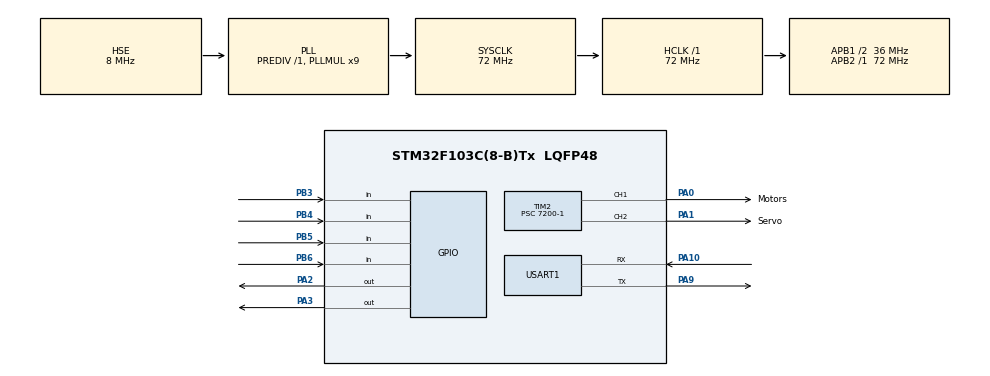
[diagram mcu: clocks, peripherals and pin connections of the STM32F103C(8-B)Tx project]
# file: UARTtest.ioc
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Mcu.Family=STM32F1
Mcu.Name=STM32F103C(8-B)Tx
Mcu.Package=LQFP48
NVIC.PriorityGroup=NVIC_PRIORITYGROUP_4
NVIC.TIM2_IRQn=true\:0\:0\:false\:false\:true\:true\:true
NVIC.TIM3_IRQn=true\:0\:0\:false\:false\:true\:false\:true
NVIC.TimeBase=TIM3_IRQn
NVIC.TimeBaseIP=TIM3
NVIC.USART1_IRQn=true\:0\:0\:false\:false\:true\:true\:true
PA0-WKUP.GPIO_Label=Motors
PA0-WKUP.Signal=S_TIM2_CH1_ETR
PA1.GPIO_Label=Servo
PA1.Signal=S_TIM2_CH2
PA10.Mode=Asynchronous
PA10.Signal=USART1_RX
PA13.Mode=Serial_Wire
PA13.Signal=SYS_JTMS-SWDIO
PA14.Mode=Serial_Wire
PA14.Signal=SYS_JTCK-SWCLK
PA2.GPIO_Speed=GPIO_SPEED_FREQ_HIGH
PA2.Signal=GPIO_Output
PA3.GPIO_Speed=GPIO_SPEED_FREQ_HIGH
PA3.PinState=GPIO_PIN_SET
PA3.Signal=GPIO_Output
PA9.Mode=Asynchronous
PA9.Signal=USART1_TX
PB3.GPIO_Mode=GPIO_MODE_INPUT
PB3.GPIO_PuPd=GPIO_PULLUP
PB3.Signal=GPIO_Input
PB4.GPIO_PuPd=GPIO_PULLUP
PB4.Signal=GPIO_Input
PB5.GPIO_PuPd=GPIO_PULLUP
PB5.Signal=GPIO_Input
PB6.GPIO_PuPd=GPIO_PULLUP
PB6.Signal=GPIO_Input
PD0-OSC_IN.Mode=HSE-External-Oscillator
PD0-OSC_IN.Signal=RCC_OSC_IN
PD1-OSC_OUT.Mode=HSE-External-Oscillator
PD1-OSC_OUT.Signal=RCC_OSC_OUT
ProjectManager.HeapSize=0x200
ProjectManager.StackSize=0x400
ProjectManager.TargetToolchain=MDK-ARM V5.27
RCC.AHBFreq_Value=72000000
RCC.APB1CLKDivider=RCC_HCLK_DIV2
RCC.APB1Freq_Value=36000000
RCC.APB1TimFreq_Value=72000000
RCC.APB2Freq_Value=72000000
RCC.APB2TimFreq_Value=72000000
RCC.HCLKFreq_Value=72000000
RCC.PLLMUL=RCC_PLL_MUL9
RCC.PLLSourceVirtual=RCC_PLLSOURCE_HSE
RCC.SYSCLKFreq_VALUE=72000000
RCC.SYSCLKSource=RCC_SYSCLKSOURCE_PLLCLK
RCC.USBFreq_Value=72000000
SH.S_TIM2_CH1_ETR.0=TIM2_CH1,PWM Generation1 CH1
SH.S_TIM2_CH2.0=TIM2_CH2,PWM Generation2 CH2
TIM2.Channel-PWM\ Generation1\ CH1=TIM_CHANNEL_1
TIM2.Channel-PWM\ Generation2\ CH2=TIM_CHANNEL_2
TIM2.Period=200-1
TIM2.Prescaler=7200-1
USART1.VirtualMode=VM_ASYNC
VP_SYS_VS_tim3.Mode=TIM3
VP_TIM2_VS_ClockSourceINT.Mode=Internal
board=custom

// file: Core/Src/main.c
/* USER CODE BEGIN Header */
/**
  ******************************************************************************
  * @file           : main.c
  * @brief          : Main program body
  ******************************************************************************
  * @attention
  *
  * <h2><center>&copy; Copyright (c) 2021 STMicroelectronics.
  * All rights reserved.</center></h2>
  *
  * This software component is licensed by ST under BSD 3-Clause license,
  * the "License"; You may not use this file except in compliance with the
  * License. You may obtain a copy of the License at:
  *                        opensource.org/licenses/BSD-3-Clause
  *
  ******************************************************************************
  */
/* USER CODE END Header */
#include "main.h"
#include "tim.h"
#include "usart.h"
#include "gpio.h"

/* USER CODE BEGIN Includes */
#include <stdio.h>

/* USER CODE END Includes */

void SystemClock_Config(void);
/* USER CODE BEGIN PFP */

extern UART_HandleTypeDef huart1;   //声明串口

/**
  * 函数功能: 重定向c库函数printf到DEBUG_USARTx
  * 输入参数: 无
  * 返 回 值: 无
  * 说    明：无
  */
int fputc(int ch, FILE *f)
{
  HAL_UART_Transmit(&huart1, (uint8_t *)&ch, 1, 0xffff);
  return ch;
}

/**
  * 函数功能: 重定向c库函数getchar,scanf到DEBUG_USARTx
  * 输入参数: 无
  * 返 回 值: 无
  * 说    明：无
  */
int fgetc(FILE *f)
{
  uint8_t ch = 0;
  HAL_UART_Receive(&huart1, &ch, 1, 0xffff);
  return ch;
}

  /**
    * 函数功能: 控制小车左侧两电机
    * 输入参数: Direction 输入1————前进  输入0————后退
    * 返 回 值: 无
    * 说    明：无
    */
void LeftControl(int Direction)
{
	if(Direction==0)
	{
		HAL_GPIO_WritePin(GPIOA,GPIO_PIN_2,0);
		HAL_GPIO_WritePin(GPIOA,GPIO_PIN_3,1);
	}
	else
	{
		HAL_GPIO_WritePin(GPIOA,GPIO_PIN_2,1);
		HAL_GPIO_WritePin(GPIOA,GPIO_PIN_3,0);
	}

}
/* USER CODE END PFP */

int main(void)
{
  /* USER CODE BEGIN 1 */
	uint16_t Case=1;
	uint16_t angle=1;//角度控制
	uint16_t p3=0;
	uint16_t p2=0;
	uint16_t b3=0;
	uint16_t b4=0;
	uint16_t b5=0;
	uint16_t b6=0;
  /* USER CODE END 1 */

  /* MCU Configuration--------------------------------------------------------*/

  /* Reset of all peripherals, Initializes the Flash interface and the Systick. */
  HAL_Init();

  /* Configure the system clock */
  SystemClock_Config();

  /* Initialize all configured peripherals */
  MX_GPIO_Init();
  MX_USART1_UART_Init();
  MX_TIM2_Init();

  /* Infinite loop */
  /* USER CODE BEGIN WHILE */
  while (1)
  {
	  Case++;
	  switch (Case)
      {
      	case 1://0
			angle = 5;
      		break;
      	case 2://45
			angle = 10;
      		break;
		case 3://90
			angle = 15;
      		break;
		case 4://135
			angle = 20;
      		break;
		case 5://180
			angle = 25;
			break;
      	default:

			printf("    角度配置失败");
      		break;
      }
	  HAL_TIM_PWM_Start(&htim2,TIM_CHANNEL_2);
	  HAL_TIM_PWM_Start(&htim2,TIM_CHANNEL_1);
	  __HAL_TIM_SET_COMPARE(&htim2,TIM_CHANNEL_2,angle);
	  __HAL_TIM_SET_COMPARE(&htim2,TIM_CHANNEL_1,200-angle);

	  HAL_GPIO_TogglePin(GPIOA,GPIO_PIN_2);
	  HAL_GPIO_TogglePin(GPIOA,GPIO_PIN_3);
	  if(Case==5)
	  {
		  HAL_GPIO_WritePin(GPIOA,GPIO_PIN_2,0);
		  HAL_GPIO_WritePin(GPIOA,GPIO_PIN_3,0);
	  }

	  p3=HAL_GPIO_ReadPin(GPIOA,GPIO_PIN_3);
	  p2=HAL_GPIO_ReadPin(GPIOA,GPIO_PIN_2);
	  if(p2==1)
		  printf("|| 电机正转 p2=%d,p3=%d ||",p2,p3);
	  else if(p2==p3)
		  printf("|| 电机制动 p2=%d,p3=%d ||",p2,p3);
	  else
		  printf("|| 电机反转 p2=%d,p3=%d ||",p2,p3);

	  HAL_Delay(5000);
	  if(Case==5)
		  HAL_GPIO_WritePin(GPIOA,GPIO_PIN_2,1);
	  printf("______舵机角度为：%d  \n",((angle/5)-1)*45);

	  if (Case==5)
		  Case=0;

	b3=HAL_GPIO_ReadPin(GPIOB,GPIO_PIN_3);
	b4=HAL_GPIO_ReadPin(GPIOB,GPIO_PIN_4);
	b5=HAL_GPIO_ReadPin(GPIOB,GPIO_PIN_5);
	b6=HAL_GPIO_ReadPin(GPIOB,GPIO_PIN_6);

	printf("  b3=%d,b4=%d,b5=%d,b6=%d",b3,b4,b5,b6);// 0 代表接受到红外线 即前方有障碍物
    HAL_Delay(1000);

    /* USER CODE END WHILE */

  }
}

void SystemClock_Config(void)
{
  RCC_OscInitTypeDef RCC_OscInitStruct = {0};
  RCC_ClkInitTypeDef RCC_ClkInitStruct = {0};

  /** Initializes the RCC Oscillators according to the specified parameters
  * in the RCC_OscInitTypeDef structure.
  */
  RCC_OscInitStruct.OscillatorType = RCC_OSCILLATORTYPE_HSE;
  RCC_OscInitStruct.HSEState = RCC_HSE_ON;
  RCC_OscInitStruct.HSEPredivValue = RCC_HSE_PREDIV_DIV1;
  RCC_OscInitStruct.HSIState = RCC_HSI_ON;
  RCC_OscInitStruct.PLL.PLLState = RCC_PLL_ON;
  RCC_OscInitStruct.PLL.PLLSource = RCC_PLLSOURCE_HSE;
  RCC_OscInitStruct.PLL.PLLMUL = RCC_PLL_MUL9;
  if (HAL_RCC_OscConfig(&RCC_OscInitStruct) != HAL_OK)
  {
    Error_Handler();
  }
  /** Initializes the CPU, AHB and APB buses clocks
  */
  RCC_ClkInitStruct.ClockType = RCC_CLOCKTYPE_HCLK|RCC_CLOCKTYPE_SYSCLK
                              |RCC_CLOCKTYPE_PCLK1|RCC_CLOCKTYPE_PCLK2;
  RCC_ClkInitStruct.SYSCLKSource = RCC_SYSCLKSOURCE_PLLCLK;
  RCC_ClkInitStruct.AHBCLKDivider = RCC_SYSCLK_DIV1;
  RCC_ClkInitStruct.APB1CLKDivider = RCC_HCLK_DIV2;
  RCC_ClkInitStruct.APB2CLKDivider = RCC_HCLK_DIV1;

  if (HAL_RCC_ClockConfig(&RCC_ClkInitStruct, FLASH_LATENCY_2) != HAL_OK)
  {
    Error_Handler();
  }
}

/* USER CODE BEGIN 4 */
void HAL_GPIO_EXTI_Callback(uint16_t GPIO_Pin)
{
	switch (GPIO_Pin)
    {
    	case GPIO_PIN_0:

    		break;
    	case GPIO_PIN_1:

    		break;
    	case GPIO_PIN_2:

    		break;
    	case GPIO_PIN_3:

    		break;
    	case GPIO_PIN_4:

    		break;
    	default:
    		break;
    }

}

/* USER CODE END 4 */

void HAL_TIM_PeriodElapsedCallback(TIM_HandleTypeDef *htim)
{
  if (htim->Instance == TIM3) {
    HAL_IncTick();
  }
}

void Error_Handler(void)
{
}

/************************ (C) COPYRIGHT STMicroelectronics *****END OF FILE****/
